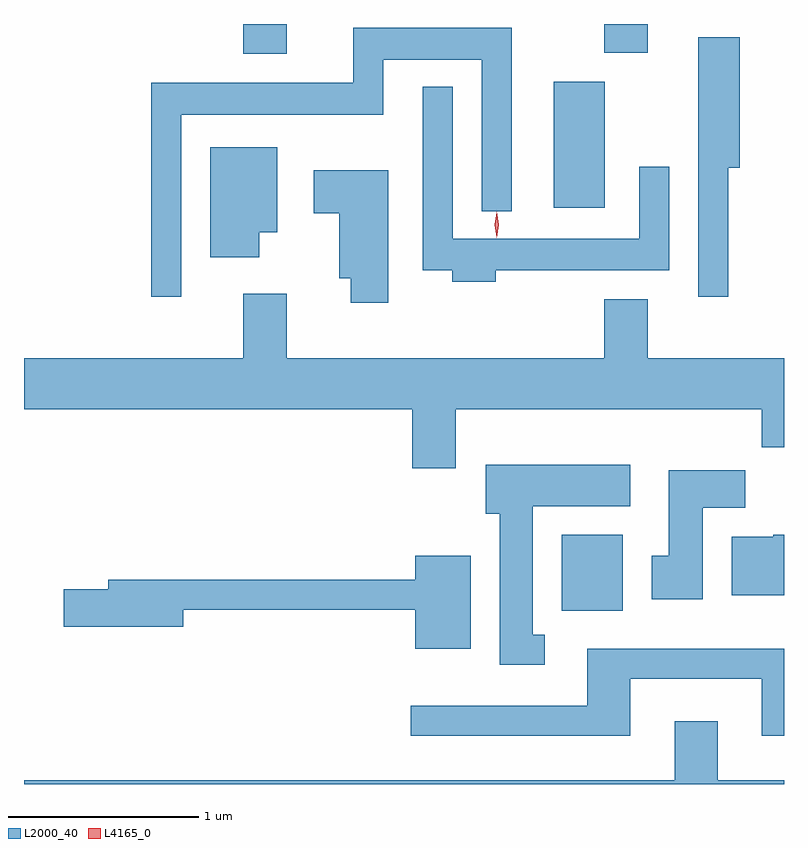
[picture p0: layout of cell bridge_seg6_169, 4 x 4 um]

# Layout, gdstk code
import gdstk
lib = gdstk.Library(unit=1e-6, precision=1e-09)
def R(c, l, rs):  # rectangles x0, y0, x1, y1
    for r in rs: c.add(gdstk.rectangle(r[:2], r[2:], *l))
def P(c, l, *ps):  # polygons
    for p in ps: c.add(gdstk.Polygon(p, *l))
L2000_40 = (2000, 40)
L4165_0 = (4165, 0)

bridge_seg6_169 = lib.new_cell('bridge_seg6_169')
R(bridge_seg6_169, L2000_40, [(1109.586,1573.396,1109.909,1573.794), (1109.546,1575.516,1109.814,1576.179), (1107.911,1576.326,1108.139,1576.483), (1109.811,1576.331,1110.039,1576.483)])
P(bridge_seg6_169, L2000_40, [(1107.584,1576.006),(1108.649,1576.006),(1108.649,1576.296),(1109.166,1576.296),(1109.166,1575.498),(1109.324,1575.498),(1109.324,1576.464),(1108.491,1576.464),(1108.491,1576.174),(1107.426,1576.174),(1107.426,1575.048),(1107.584,1575.048)],
  [(1110.464,1575.726),(1110.524,1575.726),(1110.524,1576.414),(1110.306,1576.414),(1110.306,1575.048),(1110.464,1575.048)],
  [(1109.239,1575.186),(1110.154,1575.186),(1110.154,1575.733),(1109.996,1575.733),(1109.996,1575.354),(1109.014,1575.354),(1109.014,1576.153),(1108.856,1576.153),(1108.856,1575.186),(1109.011,1575.186),(1109.011,1575.126),(1109.239,1575.126)],
  [(1107.994,1575.386),(1108.089,1575.386),(1108.089,1575.834),(1107.736,1575.834),(1107.736,1575.256),(1107.994,1575.256)],
  [(1108.674,1575.714),(1108.281,1575.714),(1108.281,1575.486),(1108.416,1575.486),(1108.416,1575.146),(1108.476,1575.146),(1108.476,1575.016),(1108.674,1575.016)],
  [(1109.029,1574.456),(1110.641,1574.456),(1110.641,1574.256),(1110.757,1574.256),(1110.757,1574.724),(1110.039,1574.724),(1110.039,1575.034),(1109.811,1575.034),(1109.811,1574.724),(1108.139,1574.724),(1108.139,1575.064),(1107.911,1575.064),(1107.911,1574.724),(1106.757,1574.724),(1106.757,1574.456),(1108.801,1574.456),(1108.801,1574.146),(1109.029,1574.146)],
  [(1109.498,1573.269),(1109.434,1573.269),(1109.434,1573.946),(1109.949,1573.946),(1109.949,1574.164),(1109.186,1574.164),(1109.186,1573.906),(1109.261,1573.906),(1109.261,1573.111),(1109.498,1573.111)],
  [(1110.329,1573.936),(1110.554,1573.936),(1110.554,1574.134),(1110.151,1574.134),(1110.151,1573.684),(1110.061,1573.684),(1110.061,1573.456),(1110.329,1573.456)],
  [(1110.757,1573.794),(1110.7,1573.794),(1110.7,1573.784),(1110.481,1573.784),(1110.481,1573.476),(1110.757,1573.476)],
  [(1109.109,1573.684),(1108.816,1573.684),(1108.816,1573.559),(1107.201,1573.559),(1107.201,1573.509),(1106.966,1573.509),(1106.966,1573.311),(1107.594,1573.311),(1107.594,1573.401),(1108.816,1573.401),(1108.816,1573.196),(1109.109,1573.196)],
  [(1109.949,1573.036),(1110.641,1573.036),(1110.641,1572.736),(1110.757,1572.736),(1110.757,1573.194),(1109.721,1573.194),(1109.721,1572.894),(1108.793,1572.894),(1108.793,1572.736),(1109.949,1572.736)],
  [(1110.757,1572.504),(1110.409,1572.504),(1110.409,1572.814),(1110.181,1572.814),(1110.181,1572.504),(1106.757,1572.504),(1106.757,1572.483),(1110.757,1572.483)])
P(bridge_seg6_169, L4165_0, [(1109.246,1575.357),(1109.245,1575.358),(1109.236,1575.427),(1109.245,1575.496),(1109.246,1575.496),(1109.246,1575.496),(1109.256,1575.427),(1109.246,1575.358)],
  [(1109.244,1575.359),(1109.244,1575.36),(1109.234,1575.426),(1109.244,1575.492),(1109.244,1575.493),(1109.245,1575.492),(1109.254,1575.426),(1109.245,1575.36)])

lib.write_gds('bridge_seg6_169.gds')
